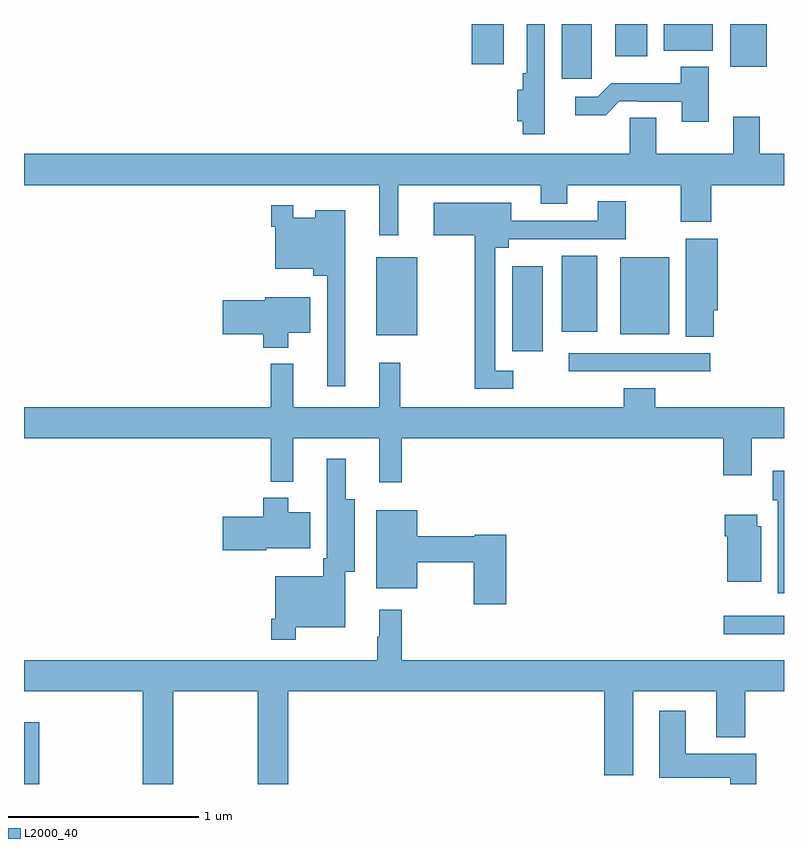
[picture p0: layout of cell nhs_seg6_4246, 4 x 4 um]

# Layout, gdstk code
import gdstk
lib = gdstk.Library(unit=1e-6, precision=1e-09)
def R(c, l, rs):  # rectangles x0, y0, x1, y1
    for r in rs: c.add(gdstk.rectangle(r[:2], r[2:], *l))
def P(c, l, *ps):  # polygons
    for p in ps: c.add(gdstk.Polygon(p, *l))
L2000_40 = (2000, 40)

nhs_seg6_4246 = lib.new_cell('nhs_seg6_4246')
R(nhs_seg6_4246, L2000_40, [(361,961.5,361.079,961.825), (364.683,962.288,365,962.385), (363.867,963.672,364.612,963.768), (363.569,963.777,363.73,964.225), (362.855,963.863,363.07,964.273), (364.139,963.866,364.396,964.273), (363.83,963.881,364.018,964.279), (363.83,965.211,363.988,965.5), (364.718,965.276,364.909,965.5), (363.356,965.289,363.526,965.5), (364.112,965.331,364.281,965.5)])
P(nhs_seg6_4246, L2000_40, [(364.624,965.5),(364.487,965.5),(364.487,965.498),(364.366,965.498),(364.366,965.36),(364.624,965.36)],
  [(363.742,965.142),(363.741,965.142),(363.741,965.5),(363.645,965.5),(363.645,965.242),(363.625,965.242),(363.625,965.154),(363.596,965.154),(363.596,964.988),(363.625,964.988),(363.625,964.92),(363.742,964.92)],
  [(364.603,965.275),(364.456,965.275),(364.456,965.189),(364.091,965.189),(364.02,965.118),(363.9,965.118),(363.9,965.021),(364.061,965.021),(364.134,965.094),(364.234,965.094),(364.234,965.091),(364.463,965.091),(364.463,964.986),(364.603,964.986)],
  [(362.969,964.652),(363.719,964.652),(363.719,964.553),(363.859,964.553),(363.859,964.652),(364.456,964.652),(364.456,964.458),(364.616,964.458),(364.616,964.652),(365,964.652),(365,964.816),(364.873,964.816),(364.873,965.011),(364.733,965.011),(364.733,964.816),(364.327,964.816),(364.327,965.006),(364.188,965.006),(364.188,964.816),(361,964.816),(361,964.652),(362.87,964.652),(362.87,964.389),(362.969,964.389)],
  [(363.574,963.675),(363.48,963.675),(363.48,964.322),(363.55,964.322),(363.55,964.368),(364.167,964.368),(364.167,964.567),(364.019,964.567),(364.019,964.464),(363.565,964.464),(363.565,964.558),(363.156,964.558),(363.156,964.388),(363.372,964.388),(363.372,963.579),(363.574,963.579)],
  [(362.692,964.519),(362.534,964.519),(362.534,964.48),(362.418,964.48),(362.418,964.546),(362.302,964.546),(362.302,964.433),(362.322,964.433),(362.322,964.211),(362.522,964.211),(362.522,964.175),(362.595,964.175),(362.595,963.594),(362.692,963.594)],
  [(364.631,963.993),(364.652,963.993),(364.652,964.369),(364.484,964.369),(364.484,963.853),(364.631,963.853)],
  [(362.392,963.875),(362.506,963.875),(362.506,964.063),(362.27,964.063),(362.27,964.046),(362.046,964.046),(362.046,963.868),(362.258,963.868),(362.258,963.797),(362.392,963.797)],
  [(362.987,963.32),(364.679,963.32),(364.679,963.126),(364.831,963.126),(364.831,963.32),(365,963.32),(365,963.484),(364.322,963.484),(364.322,963.583),(364.157,963.583),(364.157,963.484),(362.98,963.484),(362.98,963.718),(362.87,963.718),(362.87,963.484),(362.417,963.484),(362.417,963.712),(362.299,963.712),(362.299,963.484),(361,963.484),(361,963.32),(362.299,963.32),(362.299,963.092),(362.417,963.092),(362.417,963.32),(362.87,963.32),(362.87,963.087),(362.987,963.087)],
  [(362.431,962.324),(362.692,962.324),(362.692,962.618),(362.74,962.618),(362.74,962.998),(362.693,962.998),(362.693,963.211),(362.594,963.211),(362.594,962.689),(362.575,962.689),(362.575,962.593),(362.322,962.593),(362.322,962.371),(362.302,962.371),(362.302,962.259),(362.431,962.259)],
  [(365,963.148),(364.94,963.148),(364.94,962.994),(364.967,962.994),(364.967,962.505),(365,962.505)],
  [(362.274,962.741),(362.506,962.741),(362.506,962.929),(362.392,962.929),(362.392,963.007),(362.258,963.007),(362.258,962.907),(362.046,962.907),(362.046,962.729),(362.274,962.729)],
  [(363.539,962.812),(363.372,962.812),(363.372,962.804),(363.07,962.804),(363.07,962.941),(362.855,962.941),(362.855,962.531),(363.07,962.531),(363.07,962.668),(363.368,962.668),(363.368,962.445),(363.539,962.445)],
  [(364.879,962.856),(364.858,962.856),(364.858,962.917),(364.688,962.917),(364.688,962.804),(364.7,962.804),(364.7,962.564),(364.879,962.564)],
  [(361.785,961.988),(362.23,961.988),(362.23,961.5),(362.39,961.5),(362.39,961.988),(364.055,961.988),(364.055,961.547),(364.207,961.547),(364.207,961.988),(364.643,961.988),(364.643,961.745),(364.796,961.745),(364.796,961.988),(365,961.988),(365,962.152),(362.987,962.152),(362.987,962.416),(362.87,962.416),(362.87,962.276),(362.859,962.276),(362.859,962.152),(361,962.152),(361,961.988),(361.625,961.988),(361.625,961.5),(361.785,961.5)],
  [(364.853,961.66),(364.483,961.66),(364.483,961.885),(364.343,961.885),(364.343,961.532),(364.718,961.532),(364.718,961.5),(364.853,961.5)])

lib.write_gds('nhs_seg6_4246.gds')
